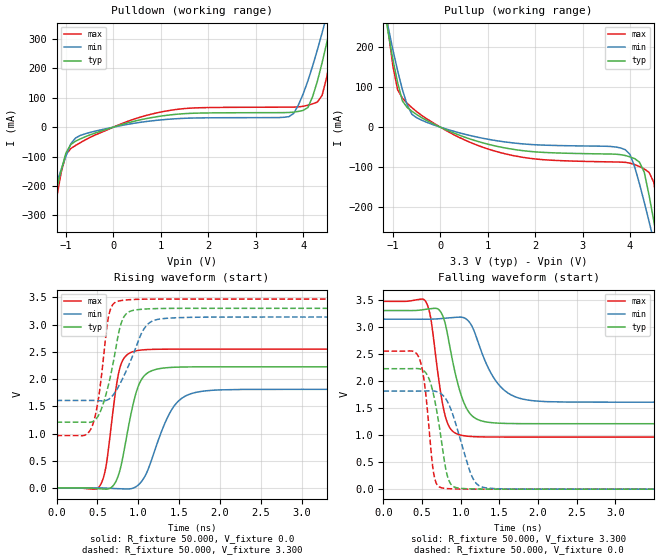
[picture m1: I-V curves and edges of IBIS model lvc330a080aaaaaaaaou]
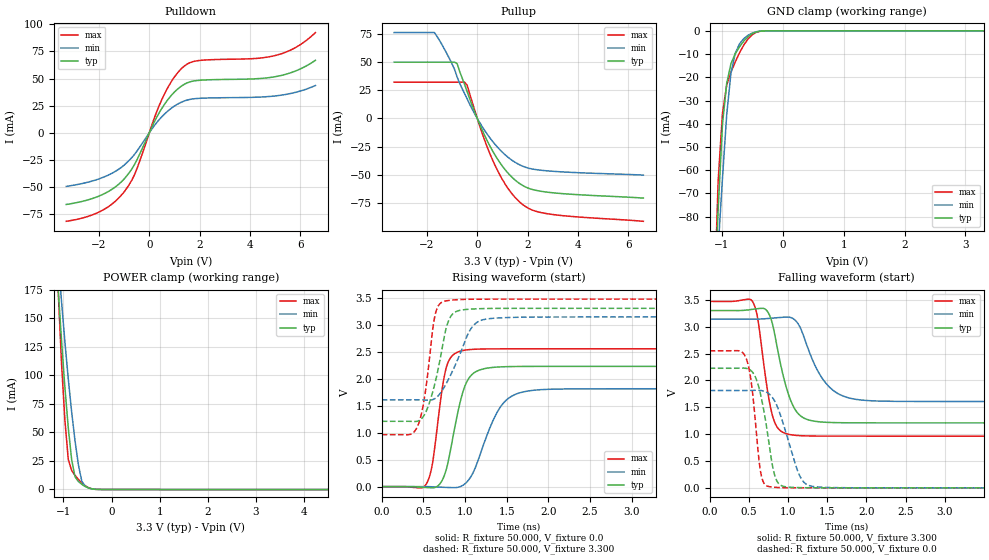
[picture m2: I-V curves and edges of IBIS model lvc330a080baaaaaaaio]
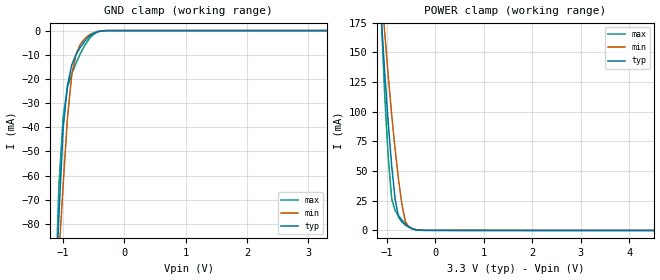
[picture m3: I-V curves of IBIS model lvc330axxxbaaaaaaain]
| IBIS Models Generator: Lattice Radiant Software (64-bit) 2023.2.1.288.0
| Report Generate Date: Aug 21 2026
| Report Generate Time: 10:30:36
|IBIS file ice40up.ibs
|Lattice Semiconductor Corporation
[IBIS ver]   4.2
[File Name]   FPGA_Intan_Driver_impl_1.ibs
[File Rev]   2.0
[Date]   1/26/2018
[Source]   Simulation
[Notes]   Final IBIS models
   The data below was generated using simulation of the
   input/output model files for the silicon.  Therefore,
   the data below is for reference and initial design
   purposes only.
|   The model applies to iCE40 ULTRA PLUS.
   Lattice Semiconductor grants permission to use this
   data for use in printed circuit design using this
   Lattice programmable logic device.  Other use of this
   code, including the selling or duplication of any
   portion is strictly prohibited.
|   NAMING CONVENTION
   The IBIS [Model] header is limited by the specification to a
   total of characters.  With such a set of characters available
   for naming models it becomes important to attempt to
   meaningfully encode the IO standards so they fit within the
   twenty character limit.  It would seem that twenty characters
   would provide room enough for describing IO's.  However, the
   PLD IO structure continues to grow more and more complex.  The
   complexity is making the twenty characters insuffiently
   descriptive.  In order to overcome this issue the naming
   convention described below is implemented to resolve the issue.
The twenty character space is managed as follows:
   bbbvvvsdddprtaaaoixx
   b = standard
   v = voltage (x.xx V)
   s = slew code
   d = drive (xx.x ma)
   p = pullmode code
   r = impedance
   t = mipi hard dphy mode
   o = diff resistor code
   i = diff  current code
   x = reserved
   standard
   LVCMOS   lvc
   lvdse   lve
   slew
   na   a
   fast   f
   slow   s
   pullmode
   off   a
   100k   b
   3p3k   i
   6p8k   j
   10k   k
   impedance
   off   a
   mipi hard dphy mode
   off   a
   lp   l
   hs   h
   differential resistor
   off   a
   100   b
   differential current
   NA   a
   3.5   c
   Reserved   IO type
   in   input only (mipi: rx)
   ou   output (mipi: tx)
   io   I/O
   od   Open drain
   on   Inverting differential I/O
   (signal name only)
   op   Non-Inverting differential I/O
   (signal name only)
   Lattice Semiconductor Corporation
   5555 NE Moore Court
   Hillsboro, OR 97214
   U.S.A
   TEL: 1-800-Lattice (USA and Canada)
   408-826-6000 (other locations)
   web: http://www.latticesemi.com/
   email: techsupport@latticesemi.com
[Disclaimer] This IBIS source code is intended as a design reference
   which illustrates how the Lattice Semiconductor device operates.
   It is the user's responsibility to verify their design for
   consistency and functionality through the use of formal
   verification methods.  Lattice Semiconductor provides no warranty
   regarding the use or functionality of this data.
[Copyright]   Copyright 2018 by Lattice Semiconductor Corporation
|   Component ice40_ultra_plus
[Component]   ice40_ultra_plus
[Manufacturer]   UMC
[Package]
| SG48
| variable   Typ   Min   Max
R_pkg   294.15m   225.91m   395.17m
L_pkg   2.652nH   1.989nH   3.504nH
C_pkg   0.2807pF   0.2236pF   0.3481pF
[Pin]  signal_name   model_name   R_pin   L_pin   C_pin
44   o_STM32_SPI4_CS_n   lvc330a080baaaaaaaio
46   o_STM32_SPI4_Clk   lvc330a080baaaaaaaio
2   o_STM32_SPI4_MOSI   lvc330a080baaaaaaaio
12   i_BLE_SYNC   lvc330axxxbaaaaaaain
45   i_NUM_CHANNEL_SEL   lvc330axxxbaaaaaaain
3   i_RHS_STIM_START   lvc330axxxbaaaaaaain
32   i_CH_BANK_SEL   lvc330axxxbaaaaaaain
31   i_START_SAMPLING   lvc330axxxbaaaaaaain
42   i_RHS_BOTTOM_SPI_MISO_1 lvc330axxxbaaaaaaain
26   i_RHS_TOP_SPI_MISO_1 lvc330axxxbaaaaaaain
35   i_clk   lvc330axxxbaaaaaaain
16   o_reset   lvc330a080aaaaaaaaou
6   o_Controller_Mode[0] lvc330a080aaaaaaaaou
48   o_Controller_Mode[1] lvc330a080aaaaaaaaou
11   o_Controller_Mode[2] lvc330a080aaaaaaaaou
21   o_Controller_Mode[3] lvc330a080aaaaaaaaou
14   LED4_OUT   lvc330a080aaaaaaaaou
4   LED3_OUT   lvc330a080aaaaaaaaou
9   LED2_OUT   lvc330a080aaaaaaaaou
19   LED1_OUT   lvc330a080aaaaaaaaou
10   o_BOOST_ENABLE   lvc330a080aaaaaaaaou
36   o_RHS_BOTTOM_SPI_CS_n_2 lvc330a080aaaaaaaaou
37   o_RHS_BOTTOM_SPI_CS_n_1 lvc330a080aaaaaaaaou
43   o_RHS_BOTTOM_SPI_Clk lvc330a080aaaaaaaaou
38   o_RHS_BOTTOM_SPI_MOSI lvc330a080aaaaaaaaou
34   o_RHS_TOP_SPI_CS_n_2 lvc330a080aaaaaaaaou
28   o_RHS_TOP_SPI_CS_n_1 lvc330a080aaaaaaaaou
27   o_RHS_TOP_SPI_Clk   lvc330a080aaaaaaaaou
25   o_RHS_TOP_SPI_MOSI   lvc330a080aaaaaaaaou
47   i_STM32_SPI4_MISO   lvc330a080aaaaaaaaou
| Models and submodels in the file (3): lvc330a080aaaaaaaaou (Output), lvc330a080baaaaaaaio (I/O), lvc330axxxbaaaaaaain (Input)
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[Model] lvc330a080aaaaaaaaou
Model_type Output
Polarity   Non-Inverting
Vmeas =  1.650V
Cref =  0.0F
Rref =  1.000M
Vref =  0.0V
C_comp   5.000pF   4.000pF   5.500pF
[Temperature Range]   25.000   0.125k   -40.000
[Voltage Range]   3.300V   3.140V   3.470V
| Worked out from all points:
|   slope of the pulldown table from 0 to 0.495 V, typ, clamps not added: 22.2 ohm
|   slope of the pullup table from 0 to 0.495 V, typ, clamps not added: 20.5 ohm
|   rising waveform, R_fixture 50.000, V_fixture 0.0: 20-80 % time 185ps typ, 288ps min, 134ps max; typ from 0 V to 2.23 V
|   rising waveform, R_fixture 50.000, V_fixture 3.300: 20-80 % time 178ps typ, 261ps min, 124ps max; typ from 1.21 V to 3.3 V
|   falling waveform, R_fixture 50.000, V_fixture 3.300: 20-80 % time 207ps typ, 307ps min, 149ps max; typ from 3.3 V to 1.21 V
|   falling waveform, R_fixture 50.000, V_fixture 0.0: 20-80 % time 154ps typ, 231ps min, 107ps max; typ from 2.23 V to 0 V
[Pulldown]
|Voltage   I(typ)   I(min)   I(max)
-3.3V     -1.776A    -1.307A    -2.431A
-1.5V     -423.6mA   -342.8mA   -538.4mA
-1.4V     -351.5mA   -291.1mA   -437.4mA
-1.3V     -280.6mA   -240.3mA   -338.1mA
-1V       -86.97mA   -97.65mA   -93.09mA
-600mV    -33.08mA   -22.8mA    -43.84mA
1.2V      41.65mA    27.29mA    57.19mA
3.7V      49.78mA    35.79mA    67.98mA
4.1V      66.56mA    157.4mA    74.46mA
4.5V      288.6mA    381.2mA    171.9mA
4.7V      439.3mA    507.4mA    377.8mA
6.6V      2.168A     1.924A     3.534A
[Pullup]
|Voltage   I(typ)   I(min)   I(max)
-3.3V     2.151A     1.834A     3.789A
-1.1V     235.9mA    249.4mA    241.7mA
-900mV    110.8mA    140.5mA    92.9mA
-700mV    49.1mA     55.83mA    59.51mA
-500mV    31.42mA    23.54mA    38.71mA
1.3V      -50.32mA   -35.76mA   -64.44mA
3.8V      -68.46mA   -51.76mA   -86.99mA
4V        -74.06mA   -67.96mA   -89.6mA
4.2V      -87.28mA   -141.6mA   -98.17mA
4.5V      -232.6mA   -283.4mA   -137mA
4.7V      -369.1mA   -384.5mA   -298.2mA
6.6V      -1.78A     -1.393A    -2.261A
[Ramp]
| variable   typ   min   max
dV/dt_r   1.335/0.193n   1.087/0.297n   1.530/0.140n
dV/dt_f   1.255/0.212n   0.920/0.311n   1.505/0.156n
R_load = 50.000
[Rising Waveform]
R_fixture= 50.000
V_fixture= 0.0
V_fixture_min= 0.0
V_fixture_max= 0.0
|time   V(typ)   V(min)   V(max)
0s        0V         0V         0V
536ps     -16.16mV   759.6uV    52.64mV
606ps     -21.46mV   -2.929mV   401.5mV
725ps     115.9mV    -11.53mV   1.805V
775ps     321mV      -14.23mV   2.204V
999ps     1.864V     52.71mV    2.526V
1.129ns   2.127V     373.8mV    2.543V
1.414ns   2.215V     1.45V      2.55V
1.764ns   2.225V     1.772V     2.55V
10ns      2.225V     1.812V     2.55V
[Rising Waveform]
R_fixture= 50.000
V_fixture= 3.300
V_fixture_min= 3.140
V_fixture_max= 3.470
|time   V(typ)   V(min)   V(max)
0s        1.209V     1.607V     962.5mV
332ps     1.209V     1.607V     963mV
426ps     1.21V      1.607V     1.102V
516ps     1.34V      1.604V     1.673V
641ps     1.928V     1.633V     3.18V
789ps     3.016V     1.951V     3.442V
874ps     3.224V     2.222V     3.456V
1.074ns   3.286V     2.93V      3.468V
1.334ns   3.298V     3.115V     3.47V
10ns      3.3V       3.14V      3.47V
[Falling Waveform]
R_fixture= 50.000
V_fixture= 3.300
V_fixture_min= 3.140
V_fixture_max= 3.470
|time   V(typ)   V(min)   V(max)
0s        3.3V       3.14V      3.47V
548ps     3.323V     3.139V     3.464V
612ps     3.334V     3.141V     3.159V
730ps     3.297V     3.15V      1.883V
801ps     3.05V      3.159V     1.342V
1.038ns   1.61V      3.168V     988mV
1.184ns   1.314V     2.882V     969.4mV
1.489ns   1.22V      1.935V     963mV
1.938ns   1.21V      1.634V     962.5mV
10ns      1.209V     1.607V     962.5mV
[Falling Waveform]
R_fixture= 50.000
V_fixture= 0.0
V_fixture_min= 0.0
V_fixture_max= 0.0
|time   V(typ)   V(min)   V(max)
0s        2.225V     1.812V     2.55V
464ps     2.224V     1.812V     2.415V
532ps     2.176V     1.814V     1.949V
651ps     1.728V     1.813V     287.9mV
772ps     678.2mV    1.729V     19.5mV
833ps     216.8mV    1.605V     10.3mV
894ps     59.61mV    1.393V     5.856mV
1.146ns   4.774mV    233.2mV    594.5uV
1.315ns   1.376mV    26.01mV    127.7uV
10ns      0V         0V         0V
[Model] lvc330a080baaaaaaaio
Model_type I/O
Polarity   Non-Inverting
Enable   Active-Low
Vinl =  0.800V
Vinh =  2.000V
Vmeas =  1.650V
Cref =  0.0F
Rref =  1.000M
Vref =  0.0V
C_comp   5.000pF   4.000pF   5.500pF
[Temperature Range]   25.000   0.125k   -40.000
[Voltage Range]   3.300V   3.140V   3.470V
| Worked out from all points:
|   slope of the pulldown table from 0 to 0.495 V, typ, clamps not added: 22.2 ohm
|   slope of the pullup table from 0 to 0.495 V, typ, clamps not added: 20.5 ohm
|   GND clamp passes 1 mA (typ) near -0.48 V on its own axis
|   POWER clamp passes 1 mA (typ) near -0.45 V on its own axis
|   rising waveform, R_fixture 50.000, V_fixture 0.0: 20-80 % time 185ps typ, 288ps min, 134ps max; typ from 0 V to 2.23 V
|   rising waveform, R_fixture 50.000, V_fixture 3.300: 20-80 % time 178ps typ, 261ps min, 124ps max; typ from 1.21 V to 3.3 V
|   falling waveform, R_fixture 50.000, V_fixture 3.300: 20-80 % time 207ps typ, 307ps min, 149ps max; typ from 3.3 V to 1.21 V
|   falling waveform, R_fixture 50.000, V_fixture 0.0: 20-80 % time 154ps typ, 231ps min, 107ps max; typ from 2.23 V to 0 V
[Pulldown]
|Voltage   I(typ)   I(min)   I(max)
-3.3V     -66.11mA   -49.45mA   -81.61mA
-1.9V     -57.37mA   -41.67mA   -71.92mA
-1V       -42.57mA   -29.81mA   -54.55mA
-600mV    -29.74mA   -20.25mA   -39.21mA
200mV     10.08mA    6.623mA    13.7mA
600mV     26.16mA    17.17mA    35.68mA
1V        37.59mA    24.65mA    51.5mA
1.4V      44.82mA    29.35mA    61.66mA
2V        48.35mA    31.74mA    66.63mA
5V        51.67mA    33.92mA    71.18mA
5.8V      56.85mA    37.19mA    78.44mA
6.6V      66.79mA    43.53mA    92.34mA
[Pullup]
|Voltage   I(typ)   I(min)   I(max)
-3.3V     49.75mA    75.94mA    32.08mA
-1.7V     49.75mA    75.94mA    32.08mA
-1.1V     49.75mA    52.62mA    32.08mA
-800mV    48.42mA    36.67mA    32.08mA
-500mV    29.78mA    21.83mA    32.08mA
-400mV    23.56mA    17.15mA    29.24mA
100mV     -5.398mA   -3.785mA   -6.924mA
600mV     -28.39mA   -20.04mA   -36.34mA
1.1V      -45.17mA   -32.05mA   -57.8mA
1.6V      -56.28mA   -40.06mA   -72.17mA
2.7V      -64.99mA   -46.22mA   -83.99mA
6.6V      -70.46mA   -50.13mA   -91.01mA
[GND_clamp]
|Voltage   I(typ)   I(min)   I(max)
-3.3V     -1.71A     -1.258A    -2.349A
-1.13V    -119.4mA   -124.7mA   -120.3mA
-1.06V    -76.88mA   -93.37mA   -64.39mA
-990mV    -40.35mA   -63.65mA   -35.62mA
-920mV    -22.6mA    -36.07mA   -23.38mA
-850mV    -14.14mA   -18.14mA   -17.79mA
-780mV    -9.909mA   -9.739mA   -13.41mA
-710mV    -6.894mA   -5.603mA   -9.501mA
-640mV    -4.428mA   -3.381mA   -6.138mA
-500mV    -1.198mA   -946.9uA   -1.648mA
-290mV    -17.2uA    -20.27uA   -19.28uA
3.3V      0A         0A         0A
[POWER_clamp]
|Voltage   I(typ)   I(min)   I(max)
-3.3V     2.101A     1.758A     3.757A
-1.11V    175.9mA    202.3mA    175mA
-1.04V    130.6mA    164.8mA    110.8mA
-970mV    89.47mA    129.5mA    60.8mA
-900mV    54.32mA    97.15mA    26.56mA
-830mV    26.33mA    68.22mA    16.68mA
-760mV    11.13mA    42.96mA    12.46mA
-690mV    7.047mA    22mA       8.842mA
-620mV    4.569mA    7.445mA    5.774mA
-480mV    1.311mA    1.375mA    1.631mA
-200mV    15.9uA     19.21uA    18.62uA
6.6V      -81.43uA   -54.99uA   -111.7uA
[Ramp]
| variable   typ   min   max
dV/dt_r   1.335/0.193n   1.087/0.298n   1.530/0.139n
dV/dt_f   1.255/0.212n   0.920/0.311n   1.505/0.156n
R_load = 50.000
[Rising Waveform]
R_fixture= 50.000
V_fixture= 0.0
V_fixture_min= 0.0
V_fixture_max= 0.0
|time   V(typ)   V(min)   V(max)
0s        0V         0V         0V
542ps     -16.67mV   648.7uV    68.39mV
612ps     -21.24mV   -3.415mV   456.9mV
721ps     104.6mV    -11.3mV    1.762V
779ps     343mV      -14.45mV   2.224V
999ps     1.863V     52.7mV     2.526V
1.129ns   2.126V     373.8mV    2.543V
1.444ns   2.217V     1.516V     2.55V
1.825ns   2.225V     1.784V     2.55V
10ns      2.225V     1.812V     2.55V
[Rising Waveform]
R_fixture= 50.000
V_fixture= 3.300
V_fixture_min= 3.140
V_fixture_max= 3.470
|time   V(typ)   V(min)   V(max)
0s        1.209V     1.607V     962.5mV
333ps     1.209V     1.607V     963.3mV
423ps     1.209V     1.607V     1.093V
512ps     1.329V     1.604V     1.633V
642ps     1.933V     1.634V     3.185V
786ps     2.999V     1.941V     3.441V
870ps     3.22V      2.207V     3.456V
1.072ns   3.286V     2.925V     3.468V
1.325ns   3.298V     3.114V     3.47V
10ns      3.3V       3.14V      3.47V
[Falling Waveform]
R_fixture= 50.000
V_fixture= 3.300
V_fixture_min= 3.140
V_fixture_max= 3.470
|time   V(typ)   V(min)   V(max)
0s        3.3V       3.14V      3.47V
548ps     3.323V     3.139V     3.464V
612ps     3.334V     3.141V     3.16V
721ps     3.311V     3.149V     1.974V
801ps     3.05V      3.159V     1.345V
1.024ns   1.663V     3.173V     991.9mV
1.174ns   1.324V     2.92V      970.1mV
1.489ns   1.22V      1.936V     963mV
1.938ns   1.21V      1.634V     962.5mV
10ns      1.209V     1.607V     962.5mV
[Falling Waveform]
R_fixture= 50.000
V_fixture= 0.0
V_fixture_min= 0.0
V_fixture_max= 0.0
|time   V(typ)   V(min)   V(max)
0s        2.225V     1.812V     2.55V
464ps     2.224V     1.812V     2.416V
532ps     2.176V     1.814V     1.95V
651ps     1.729V     1.813V     289.1mV
775ps     650.5mV    1.725V     19.02mV
827ps     247.7mV    1.621V     10.93mV
896ps     57.42mV    1.385V     5.737mV
1.143ns   4.883mV    243.5mV    610.6uV
1.315ns   1.378mV    26.1mV     127.7uV
10ns      0V         0V         0V
[Model] lvc330axxxbaaaaaaain
Model_type Input
Polarity   Non-Inverting
Vinl =  0.800V
Vinh =  2.000V
C_comp   3.30pF   3.17pF   3.43pF
[Temperature Range]   25.000   0.125k   -40.000
[Voltage Range]   3.300V   3.140V   3.470V
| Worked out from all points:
|   GND clamp passes 1 mA (typ) near -0.48 V on its own axis
|   POWER clamp passes 1 mA (typ) near -0.45 V on its own axis
[GND_clamp]
|Voltage   I(typ)   I(min)   I(max)
-3.3V     -1.71A     -1.258A    -2.349A
-1.13V    -119.4mA   -124.7mA   -120.3mA
-1.06V    -76.88mA   -93.37mA   -64.39mA
-990mV    -40.35mA   -63.65mA   -35.62mA
-920mV    -22.6mA    -36.07mA   -23.38mA
-850mV    -14.14mA   -18.14mA   -17.79mA
-780mV    -9.909mA   -9.739mA   -13.41mA
-710mV    -6.894mA   -5.603mA   -9.501mA
-640mV    -4.428mA   -3.381mA   -6.138mA
-500mV    -1.198mA   -946.9uA   -1.648mA
-290mV    -17.2uA    -20.27uA   -19.28uA
3.3V      0A         0A         0A
[POWER_clamp]
|Voltage   I(typ)   I(min)   I(max)
-3.3V     2.101A     1.758A     3.757A
-1.11V    175.9mA    202.3mA    175mA
-1.04V    130.6mA    164.8mA    110.8mA
-970mV    89.47mA    129.5mA    60.8mA
-900mV    54.32mA    97.15mA    26.56mA
-830mV    26.33mA    68.22mA    16.68mA
-760mV    11.13mA    42.96mA    12.46mA
-690mV    7.047mA    22mA       8.842mA
-620mV    4.569mA    7.445mA    5.774mA
-480mV    1.311mA    1.375mA    1.631mA
-200mV    15.9uA     19.21uA    18.62uA
6.6V      -81.43uA   -54.99uA   -111.7uA
